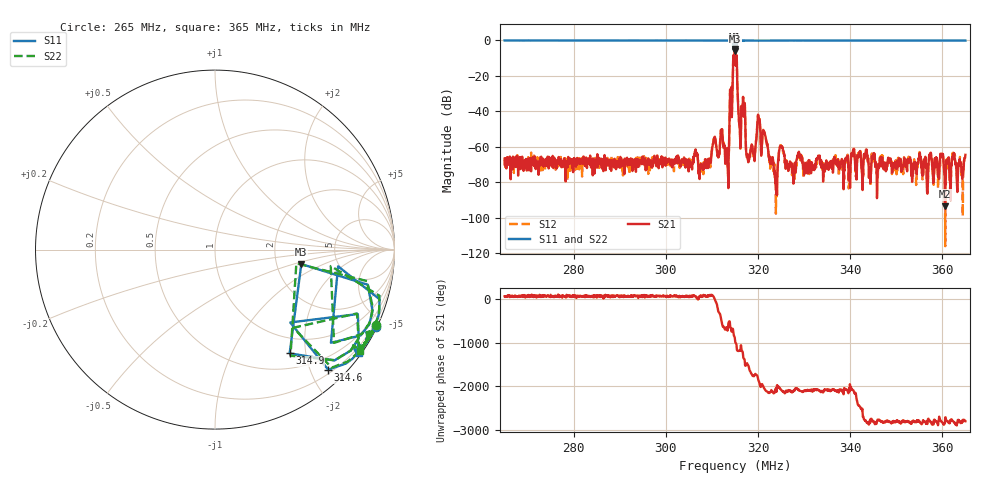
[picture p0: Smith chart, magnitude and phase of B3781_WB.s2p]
! Matrix data file written by TouchstoneData, EPCOS AG
! FILENAME: "newformat_B3781_WB.s2p"
! COMMENT: "22 Jul 2004 S11-NoP:1601;Caltype:FULL2PORT;P"
! INFO: nport=2, nfreq=1601
! DATE: "Wed Sep 19 15:44:07 2012"
! USER: "Wilfried Schott"
! port | pin | signal
!  1  |  2  |  IN
!  2  |  5  |  OUT
# MHZ S MA R 50
! freq  magS11 angS11  magS21 angS21  magS12 angS12  magS22 angS22
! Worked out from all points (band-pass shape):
!   1601 points, 265 MHz to 365 MHz, reference 50 ohm
!   highest |S21| = -4.92 dB at 315 MHz (marker M1); lowest = -93.7 dB at 360.6 MHz (marker M2)
!   |S21| within 3 dB of the highest: 314.9232 MHz to 315.0415 MHz (118.3 kHz wide, 0.0376 % of centre)
!   lowest |S11| = -6.2 dB at 315 MHz (marker M3), VSWR 2.90, Z = 138 - j29.2 ohm
!   |S11| at or under -10 dB: nowhere
!   |S22| runs from -6.8 to -0.1 dB; largest |S21 - S12| = 0.029
!   S11 on the Smith chart (normalised r, x): 265 MHz: 0.07, -4.39; 314.6 MHz: 0.26, -2.29; 314.9 MHz: 0.73, -1.71; 365 MHz: 0.07, -3.12
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265  0.9932 -25.6  0.0004599 64.7  0.0004393 82.2  0.9897 -25.2
281.6875  0.9913 -27.3  0.0004374 58.7  0.0002886 69.0  0.987 -27.0
298.375  0.9907 -29.2  0.0003278 78.0  0.0004219 73.7  0.9891 -28.7
306.4375  0.9888 -30.2  0.0008376 59.0  0.000626 58.9  0.987 -29.7
307.625  0.989 -30.4  0.0003292 52.0  0.0003256 78.2  0.9871 -29.7
312.25  0.9864 -31.5  0.002805 125.4  0.002701 123.6  0.9842 -31.0
313.1875  0.9881 -32.5  0.0005317 63.9  0.0005869 73.9  0.9878 -32.0
314.5625  0.9197 -46.7  0.142 24.1  0.1484 23.3  0.9247 -45.3
314.9375  0.7121 -54.3  0.4517 -164.8  0.463 -166.8  0.7255 -54.6
315  0.4877 -9.5  0.5673 133.7  0.5602 130.9  0.4596 -9.6
316  0.9881 -27.4  0.003419 -108.9  0.003338 -107.3  0.9881 -27.0
316.8125  0.983 -28.5  0.01518 87.9  0.0145 86.6  0.9786 -27.9
317.875  0.9861 -29.9  0.0003634 -87.9  0.0003266 -78.3  0.9841 -29.3
320.0625  0.9803 -30.4  0.007231 -58.6  0.007177 -60.0  0.9792 -29.9
323.75  0.9871 -31.0  9.246e-05 77.6  8.708e-05 31.1  0.9841 -30.4
325.0625  0.9882 -31.1  0.0009862 69.7  0.001007 64.9  0.9849 -30.7
327.625  0.9874 -31.5  0.0001547 31.5  0.0001459 51.6  0.9853 -30.9
328.9375  0.9877 -31.6  0.0006384 62.0  0.0005152 52.0  0.9854 -31.4
331.6875  0.9881 -32.0  0.0003591 70.9  0.00029 75.6  0.9881 -31.5
348.375  0.9857 -33.8  0.0004328 65.9  0.0004726 63.8  0.9856 -33.3
360.5625  0.9862 -35.1  2.072e-05 40.8  0.0001498 -50.6  0.9846 -34.4
365  0.9876 -35.5  0.000589 71.3  0.0004671 74.1  0.9854 -34.9
